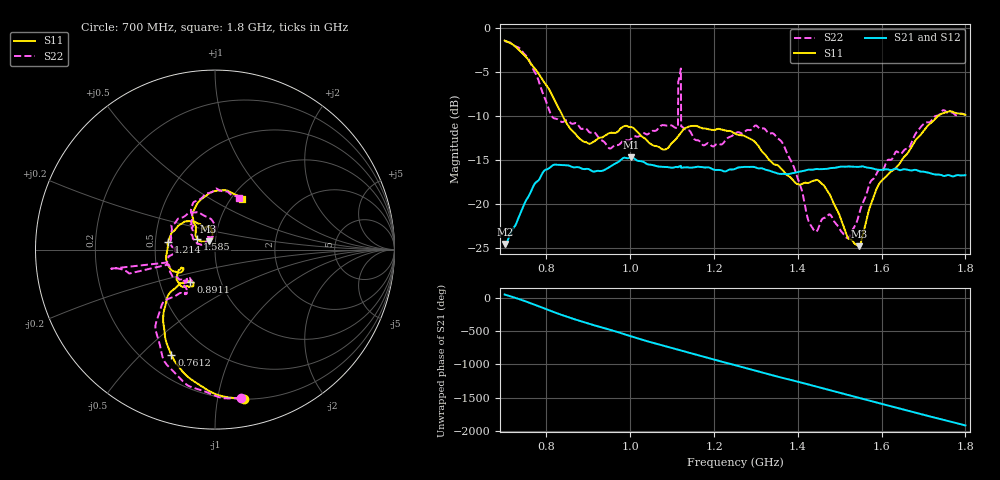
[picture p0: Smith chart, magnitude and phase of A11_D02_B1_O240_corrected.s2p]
! Created with skrf 1.9.0 (http://scikit-rf.org).
# Hz S RI R 50.0
!freq ReS11 ImS11 ReS21 ImS21 ReS12 ImS12 ReS22 ImS22
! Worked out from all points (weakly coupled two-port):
!   1601 points, 700 MHz to 1.8 GHz, reference 50 ohm
!   highest |S21| = -14.72 dB at 1.002 GHz (marker M1); lowest = -24.6 dB at 700.7 MHz (marker M2)
!   lowest |S11| = -24.8 dB at 1.546 GHz (marker M3), VSWR 1.12, Z = 46.4 + j4.21 ohm
!   |S11| at or under -10 dB: 838.6 MHz to 1.735 GHz (896.4 MHz wide, 69.7 % of centre)
!   |S22| runs from -23.9 to -1.5 dB; largest |S21 - S12| = 0.0034
!   S11 on the Smith chart (normalised r, x): 700 MHz: 0.20, -1.19; 761.2 MHz: 0.32, -0.62; 891.1 MHz: 0.72, -0.27; 1.214 GHz: 0.58, +0.05; 1.585 GHz: 0.81, +0.10; 1.8 GHz: 1.12, +0.71
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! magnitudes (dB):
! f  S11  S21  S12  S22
! 700 MHz  -1.4  -24.6  -24.3  -1.5
! 700.7 MHz  -1.4  -24.6  -24.3  -1.5
! 761.2 MHz  -4.0  -18.8  -18.7  -3.9
! 814.1 MHz  -7.7  -15.6  -15.7  -10.1
! 883.6 MHz  -12.7  -16.0  -15.9  -11.5
! 891.1 MHz  -13.0  -16.1  -16.1  -11.4
! 1.002 GHz  -11.3  -14.7  -14.8  -12.6
! 1.067 GHz  -13.5  -15.7  -15.7  -11.4
! 1.108 GHz  -12.7  -15.8  -15.9  -11.4
! 1.12 GHz  -12.0  -15.7  -15.6  -4.8
! 1.127 GHz  -11.5  -15.9  -15.9  -11.4
! 1.214 GHz  -11.5  -16.2  -16.1  -13.2
! 1.25 GHz  -12.0  -16.0  -15.9  -12.0
! 1.36 GHz  -16.0  -16.6  -16.6  -12.9
! 1.434 GHz  -17.4  -16.1  -16.1  -22.6
! 1.476 GHz  -18.9  -16.0  -16.0  -21.2
! 1.52 GHz  -23.9  -15.7  -15.8  -23.9
! 1.546 GHz  -24.8  -15.8  -15.8  -21.3
! 1.585 GHz  -18.7  -16.1  -16.1  -16.9
! 1.617 GHz  -16.6  -16.1  -16.1  -15.0
! 1.737 GHz  -9.9  -16.7  -16.7  -9.9
! 1.8 GHz  -9.9  -16.7  -16.7  -9.9
